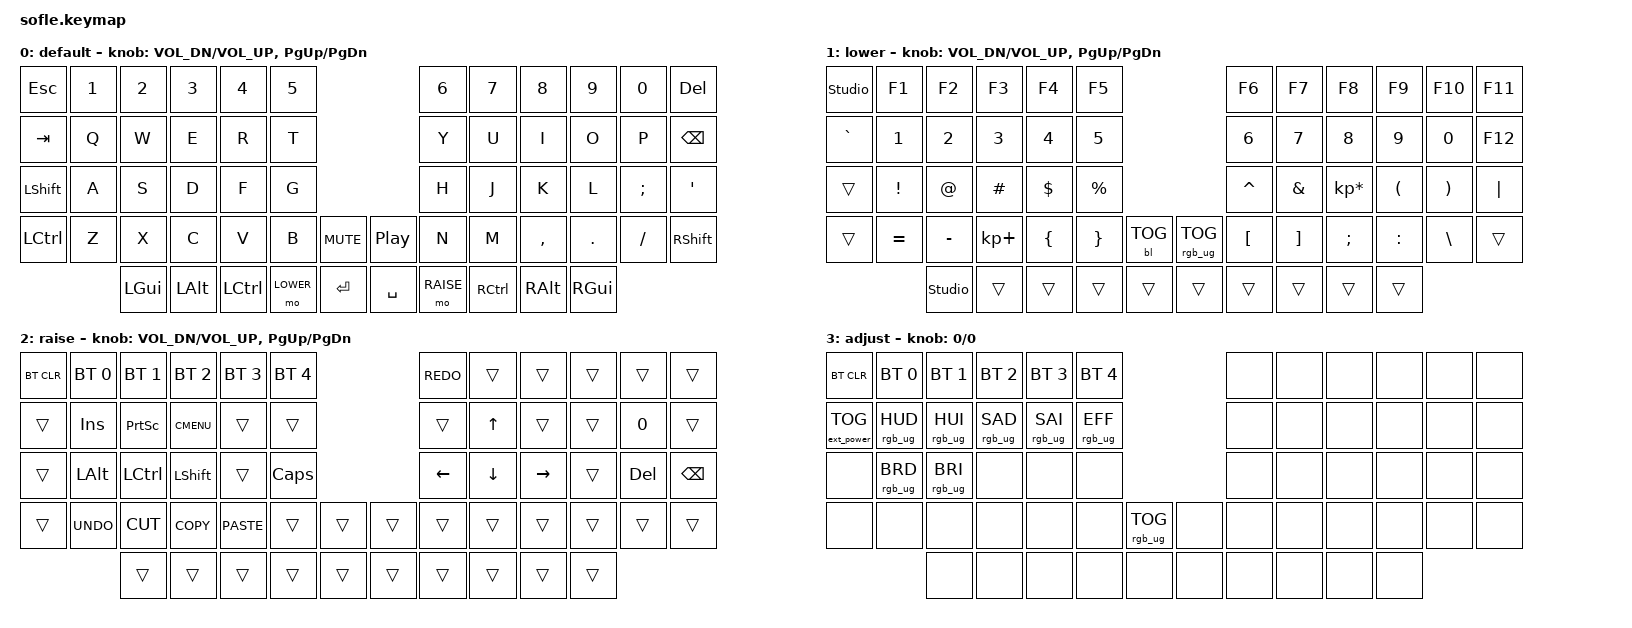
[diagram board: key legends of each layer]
/*
 * Copyright (c) 2020 The ZMK Contributors
 *
 * SPDX-License-Identifier: MIT
 */

#include <behaviors.dtsi>
#include <dt-bindings/zmk/backlight.h>
#include <dt-bindings/zmk/bt.h>
#include <dt-bindings/zmk/ext_power.h>
#include <dt-bindings/zmk/keys.h>
#include <dt-bindings/zmk/rgb.h>

#define BASE 0
#define LOWER 1
#define RAISE 2
#define ADJUST 3

/ {
    // Activate ADJUST layer by pressing raise and lower

    conditional_layers {
        compatible = "zmk,conditional-layers";

        adjust_layer {
            if-layers = <LOWER RAISE>;
            then-layer = <ADJUST>;
        };
    };

    keymap {
        compatible = "zmk,keymap";

        default_layer {
            label = "default";

            // ------------------------------------------------------------------------------------------------------------
            // |   `   |  1  |  2  |  3   |  4   |  5   |                   |  6   |  7    |  8    |  9   |   0   |       |
            // |  ESC  |  Q  |  W  |  E   |  R   |  T   |                   |  Y   |  U    |  I    |  O   |   P   | BKSPC |
            // |  TAB  |  A  |  S  |  D   |  F   |  G   |                   |  H   |  J    |  K    |  L   |   ;   |   '   |
            // | SHIFT |  Z  |  X  |  C   |  V   |  B   |  MUTE  |  |       |  N   |  M    |  ,    |  .   |   /   | SHIFT |
            //               | GUI | ALT  | CTRL | LOWER|  ENTER |  | SPACE | RAISE| CTRL  | ALT   | GUI  |

            bindings = <
&kp ESCAPE        &kp N1  &kp N2    &kp N3    &kp N4     &kp N5                                     &kp N6     &kp N7     &kp N8     &kp N9    &kp N0    &kp DELETE
&kp TAB           &kp Q   &kp W     &kp E     &kp R      &kp T                                      &kp Y      &kp U      &kp I      &kp O     &kp P     &kp BSPC
&kp LEFT_SHIFT    &kp A   &kp S     &kp D     &kp F      &kp G                                      &kp H      &kp J      &kp K      &kp L     &kp SEMI  &kp SQT
&kp LEFT_CONTROL  &kp Z   &kp X     &kp C     &kp V      &kp B      &kp C_MUTE    &kp C_PLAY_PAUSE  &kp N      &kp M      &kp COMMA  &kp DOT   &kp FSLH  &kp RSHFT
                          &kp LGUI  &kp LALT  &kp LCTRL  &mo LOWER  &kp RET       &kp SPACE         &mo RAISE  &kp RCTRL  &kp RALT   &kp RGUI
            >;

            sensor-bindings =
                <&inc_dec_kp C_VOL_DN C_VOL_UP>,
                <&inc_dec_kp PG_UP PG_DN>;
        };

        lower_layer {
            label = "lower";

            // TODO: Some binds are waiting for shifted keycode support.
            // ------------------------------------------------------------------------------------------------------------
            // |       |  F1 |  F2 |  F3  |  F4  |  F5  |                   |  F6  |  F7   |  F8   |  F9  |  F10  |  F11  |
            // |   `   |  1  |  2  |  3   |  4   |  5   |                   |  6   |  7    |  8    |  9   |   0   |  F12  |
            // |       |  !  |  @  |  #   |  $   |  %   |                   |  ^   |  &    |  *    |  (   |   )   |   |   |
            // |       |  =  |  -  |  +   |  {   |  }   |        |  |       |  [   |  ]    |  ;    |  :   |   \   |       |
            //               |     |      |      |      |        |  |       |      |       |       |      |

            bindings = <
&studio_unlock  &kp F1     &kp F2          &kp F3       &kp F4    &kp F5                                    &kp F6     &kp F7    &kp F8           &kp F9     &kp F10   &kp F11
&kp GRAVE       &kp N1     &kp N2          &kp N3       &kp N4    &kp N5                                    &kp N6     &kp N7    &kp N8           &kp N9     &kp N0    &kp F12
&trans          &kp EXCL   &kp AT          &kp HASH     &kp DLLR  &kp PRCNT                                 &kp CARET  &kp AMPS  &kp KP_MULTIPLY  &kp LPAR   &kp RPAR  &kp PIPE
&trans          &kp EQUAL  &kp MINUS       &kp KP_PLUS  &kp LBRC  &kp RBRC   &bl BL_TOG    &rgb_ug RGB_TOG  &kp LBKT   &kp RBKT  &kp SEMI         &kp COLON  &kp BSLH  &trans
                           &studio_unlock  &trans       &trans    &trans     &trans        &trans           &trans     &trans    &trans           &trans
            >;

            sensor-bindings =
                <&inc_dec_kp C_VOL_DN C_VOLUME_UP>,
                <&inc_dec_kp PG_UP PG_DN>;
        };

        raise_layer {
            label = "raise";

            // ------------------------------------------------------------------------------------------------------------
            // | BTCLR | BT1  | BT2  |  BT3  |  BT4  |  BT5 |                |      |      |       |      |       |       |
            // |       | INS  | PSCR | GUI   |       |      |                | PGUP |      |   ^   |      |       |       |
            // |       | ALT  | CTRL | SHIFT |       | CAPS |                | PGDN |   <- |   v   |  ->  |  DEL  | BKSPC |
            // |       | UNDO | CUT  | COPY  | PASTE |      |      |  |      |      |      |       |      |       |       |
            //                |      |       |       |      |      |  |      |      |      |       |      |

            bindings = <
&bt BT_CLR  &bt BT_SEL 0  &bt BT_SEL 1  &bt BT_SEL 2  &bt BT_SEL 3  &bt BT_SEL 4                    &kp K_REDO  &trans        &trans     &trans  &trans   &trans
&trans      &kp INS       &kp PSCRN     &kp K_CMENU   &trans        &trans                          &trans      &kp UP_ARROW  &trans     &trans  &kp N0   &trans
&trans      &kp LALT      &kp LCTRL     &kp LSHFT     &trans        &kp CLCK                        &kp LEFT    &kp DOWN      &kp RIGHT  &trans  &kp DEL  &kp BSPC
&trans      &kp K_UNDO    &kp K_CUT     &kp K_COPY    &kp K_PASTE   &trans        &trans    &trans  &trans      &trans        &trans     &trans  &trans   &trans
                          &trans        &trans        &trans        &trans        &trans    &trans  &trans      &trans        &trans     &trans
            >;

            sensor-bindings =
                <&inc_dec_kp C_VOL_DN C_VOL_UP>,
                <&inc_dec_kp PG_UP PG_DN>;
        };

        adjust_layer {
            // ----------------------------------------------------------------------------------------------------------------------------
            // | BTCLR  |  BT1    |  BT2    |   BT3   |   BT4   |   BT5   |                  |      |      |       |      |       |       |
            // | EXTPWR | RGB_HUD | RGB_HUI | RGB_SAD | RGB_SAI | RGB_EFF |                  |      |      |       |      |       |       |
            // |        | RGB_BRD | RGB_BRI |         |         |         |                  |      |      |       |      |       |       |
            // |        |         |         |         |         |         | RGB_TOG | |      |      |      |       |      |       |       |
            //                    |         |         |         |         |         | |      |      |      |       |      |

            label = "adjust";
            bindings = <
&bt BT_CLR         &bt BT_SEL 0     &bt BT_SEL 1     &bt BT_SEL 2     &bt BT_SEL 3     &bt BT_SEL 4                               &none  &none  &none  &none  &none  &none
&ext_power EP_TOG  &rgb_ug RGB_HUD  &rgb_ug RGB_HUI  &rgb_ug RGB_SAD  &rgb_ug RGB_SAI  &rgb_ug RGB_EFF                            &none  &none  &none  &none  &none  &none
&none              &rgb_ug RGB_BRD  &rgb_ug RGB_BRI  &none            &none            &none                                      &none  &none  &none  &none  &none  &none
&none              &none            &none            &none            &none            &none            &rgb_ug RGB_TOG    &none  &none  &none  &none  &none  &none  &none
                                    &none            &none            &none            &none            &none              &none  &none  &none  &none  &none
            >;

            sensor-bindings = <&inc_dec_kp 0 0>;
        };
    };
};
